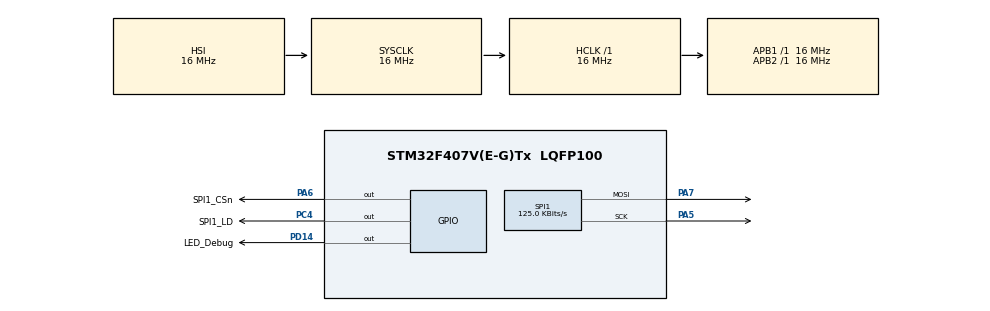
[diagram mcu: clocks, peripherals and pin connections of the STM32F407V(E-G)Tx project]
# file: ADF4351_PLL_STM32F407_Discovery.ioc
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Mcu.Family=STM32F4
Mcu.Name=STM32F407V(E-G)Tx
Mcu.Package=LQFP100
NVIC.PriorityGroup=NVIC_PRIORITYGROUP_4
PA5.Mode=TX_Only_Simplex_Unidirect_Master
PA5.Signal=SPI1_SCK
PA6.GPIO_Label=SPI1_CSn
PA6.Signal=GPIO_Output
PA7.Mode=TX_Only_Simplex_Unidirect_Master
PA7.Signal=SPI1_MOSI
PC4.GPIO_Label=SPI1_LD
PC4.Signal=GPIO_Output
PD14.GPIO_Label=LED_Debug
PD14.Signal=GPIO_Output
ProjectManager.HeapSize=0x200
ProjectManager.StackSize=0x400
ProjectManager.TargetToolchain=STM32CubeIDE
RCC.AHBFreq_Value=16000000
RCC.APB1Freq_Value=16000000
RCC.APB2Freq_Value=16000000
RCC.CortexFreq_Value=16000000
RCC.HSE_VALUE=25000000
RCC.HSI_VALUE=16000000
RCC.LSE_VALUE=32768
RCC.SYSCLKFreq_VALUE=16000000
RCC.VCOOutputFreq_Value=192000000
SPI1.BaudRatePrescaler=SPI_BAUDRATEPRESCALER_128
SPI1.CalculateBaudRate=125.0 KBits/s
SPI1.Direction=SPI_DIRECTION_2LINES
SPI1.Mode=SPI_MODE_MASTER
SPI1.VirtualType=VM_MASTER
board=custom

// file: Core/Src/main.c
/* USER CODE BEGIN Header */
/**
  ******************************************************************************
  * @file           : main.c
  * @brief          : Main program body
  ******************************************************************************
  * @attention
  *
  * Copyright (c) 2025 STMicroelectronics.
  * All rights reserved.
  *
  * This software is licensed under terms that can be found in the LICENSE file
  * in the root directory of this software component.
  * If no LICENSE file comes with this software, it is provided AS-IS.
  *
  ******************************************************************************
  */
/* USER CODE END Header */
#include "main.h"

/* USER CODE BEGIN Includes */

#include "adf4351.h"
/* USER CODE END Includes */

//SPI_HandleTypeDef hspi1;

void SystemClock_Config(void);
static void MX_GPIO_Init(void);
static void MX_SPI1_Init(void);

int main(void)
{

  /* MCU Configuration--------------------------------------------------------*/

  /* Reset of all peripherals, Initializes the Flash interface and the Systick. */
  HAL_Init();

  /* USER CODE BEGIN Init */
  //Setup initial state for SPI IO
  	HAL_GPIO_WritePin(SPI1_CSn_GPIO_Port, SPI1_CSn_Pin, 1);
    HAL_GPIO_WritePin(SPI1_LD_GPIO_Port, SPI1_LD_Pin, 1);
    // set LED default states (turns them on)
    //HAL_GPIO_WritePin(LD3_GPIO_Port, LD3_Pin, 1);
  /* USER CODE END Init */

  /* Configure the system clock */
  SystemClock_Config();

  /* Initialize all configured peripherals */
  MX_GPIO_Init();
  MX_SPI1_Init();
  /* USER CODE BEGIN 2 */

  cmd_sm_init(); //Initializes PLL

  int64_t frequency = 100e6;
  int64_t current_frequency = 0;
  HAL_Delay(100);
  adf4350_out_altvoltage0_frequency(frequency);
 // adf4350_out_altvoltage0_powerdown(1);
  /* USER CODE END 2 */

  /* Infinite loop */
  /* USER CODE BEGIN WHILE */
  while (1)
  {

	 // adf4350_out_altvoltage0_frequency(frequency);
	  HAL_Delay(1000);
	  HAL_GPIO_TogglePin(GPIOD, LED_Debug_Pin);
    /* USER CODE END WHILE */

  }
}

void SystemClock_Config(void)
{
  RCC_OscInitTypeDef RCC_OscInitStruct = {0};
  RCC_ClkInitTypeDef RCC_ClkInitStruct = {0};

  /** Configure the main internal regulator output voltage
  */
  __HAL_RCC_PWR_CLK_ENABLE();
  __HAL_PWR_VOLTAGESCALING_CONFIG(PWR_REGULATOR_VOLTAGE_SCALE1);

  /** Initializes the RCC Oscillators according to the specified parameters
  * in the RCC_OscInitTypeDef structure.
  */
  RCC_OscInitStruct.OscillatorType = RCC_OSCILLATORTYPE_HSI;
  RCC_OscInitStruct.HSIState = RCC_HSI_ON;
  RCC_OscInitStruct.HSICalibrationValue = RCC_HSICALIBRATION_DEFAULT;
  RCC_OscInitStruct.PLL.PLLState = RCC_PLL_NONE;
  if (HAL_RCC_OscConfig(&RCC_OscInitStruct) != HAL_OK)
  {
    Error_Handler();
  }

  /** Initializes the CPU, AHB and APB buses clocks
  */
  RCC_ClkInitStruct.ClockType = RCC_CLOCKTYPE_HCLK|RCC_CLOCKTYPE_SYSCLK
                              |RCC_CLOCKTYPE_PCLK1|RCC_CLOCKTYPE_PCLK2;
  RCC_ClkInitStruct.SYSCLKSource = RCC_SYSCLKSOURCE_HSI;
  RCC_ClkInitStruct.AHBCLKDivider = RCC_SYSCLK_DIV1;
  RCC_ClkInitStruct.APB1CLKDivider = RCC_HCLK_DIV1;
  RCC_ClkInitStruct.APB2CLKDivider = RCC_HCLK_DIV1;

  if (HAL_RCC_ClockConfig(&RCC_ClkInitStruct, FLASH_LATENCY_0) != HAL_OK)
  {
    Error_Handler();
  }
}

/* USER CODE BEGIN 4 */

adf4350_init_param pll_config;

void cmd_sm_init() {
  // initialize pll_config structure
  pll_config.clkin = 48e6; //TODO change to 25?
  pll_config.channel_spacing = 100;
  pll_config.power_up_frequency = 400e6;
  pll_config.reference_div_factor = 1;
  pll_config.reference_doubler_enable = 0;
  pll_config.reference_div2_enable = 0;
  pll_config.phase_detector_polarity_positive_enable = 1;
  pll_config.lock_detect_precision_6ns_enable = 0; // 10 ns
  pll_config.lock_detect_function_integer_n_enable = 0; // Fractional pll
  pll_config.charge_pump_current = 7; //2.50
  pll_config.muxout_select = 6; // Digital Lock Detect Out
  pll_config.low_spur_mode_enable = 0; // higher noise, lower spurs.
  pll_config.cycle_slip_reduction_enable = 0;
  pll_config.charge_cancellation_enable = 0;
  pll_config.anti_backlash_3ns_enable = 0;
  pll_config.band_select_clock_mode_high_enable = 0; // low
  pll_config.clk_divider_12bit = 0;
  pll_config.clk_divider_mode = 0;
  pll_config.aux_output_enable = 0;
  pll_config.aux_output_fundamental_enable = 0;
  pll_config.mute_till_lock_enable = 1;
  pll_config.output_power = 0b11;
  pll_config.aux_output_power = 0b11;
  adf4350_out_altvoltage0_powerdown(0); // power down PLL
  adf4350_setup(pll_config);
}

/* USER CODE END 4 */

void Error_Handler(void)
{
  __disable_irq();
  while (1)
  {
  }
}
